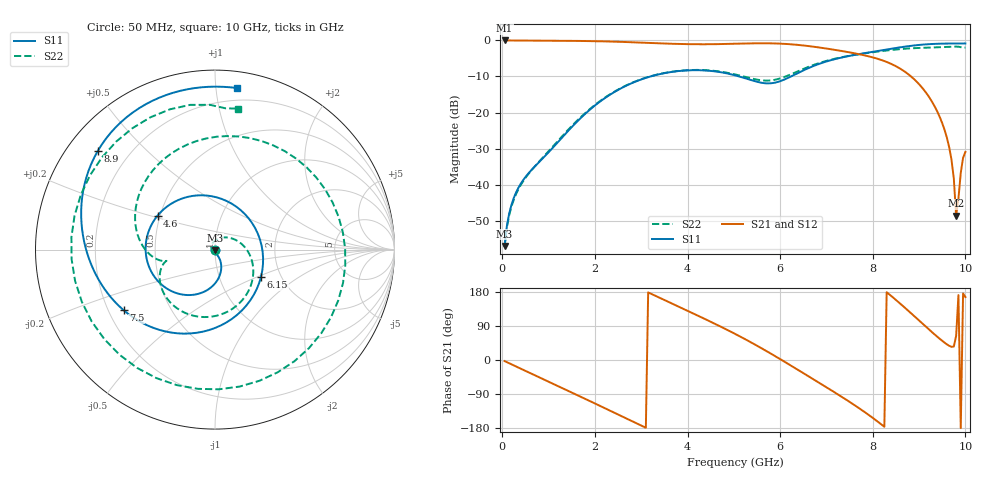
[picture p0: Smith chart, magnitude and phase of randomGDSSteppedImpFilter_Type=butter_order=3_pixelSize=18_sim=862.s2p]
! freq	dB(S11)	phase(S11)	dB(S12)	phase(S12)
!  dB(S21)	phase(S21)	dB(S22)	phase(S22)
!S-par simulation data
#  GHz  S  DB  R 50
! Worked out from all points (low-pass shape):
!   200 points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, 50 MHz to 10 GHz, reference 50 ohm
!   highest |S21| = -0.01 dB at 50 MHz (marker M1); lowest = -48.7 dB at 9.8 GHz (marker M2)
!   |S21| within 3 dB of the highest: start of sweep to 7.365 GHz
!   lowest |S11| = -57.0 dB at 50 MHz (marker M3), VSWR 1.00, Z = 50.1 - j0.13 ohm
!   |S11| at or under -10 dB: start of sweep to 3.199 GHz; 5.115 GHz to 6.234 GHz (1.119 GHz wide, 19.7 % of centre)
!   |S22| runs from -57.1 to -1.7 dB; largest |S21 - S12| = 0
!   S11 on the Smith chart (normalised r, x): 50 MHz: 1.00, -0.00; 4.6 GHz: 0.48, +0.21; 6.15 GHz: 1.58, -0.53; 7.5 GHz: 0.26, -0.28; 8.9 GHz: 0.09, +0.36; 10 GHz: 0.11, +1.14
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0.05  -57.02 -67.6  -0.01 -2.9  -0.01 -2.9  -57.09 -74.9
0.15  -47.97 -81.6  -0.02 -8.6  -0.02 -8.6  -48.44 -101.3
0.4  -39.74 -84.0  -0.03 -22.8  -0.03 -22.8  -40.09 -139.2
1.1  -29.65 -67.3  -0.08 -62.7  -0.08 -62.7  -29.31 119.8
1.75  -20.84 -67.8  -0.15 -100.1  -0.15 -100.1  -20.62 46.8
2.6  -13.04 -99.1  -0.41 -149.8  -0.41 -149.8  -12.96 -21.0
3.4  -9.34 -139.1  -0.81 164.0  -0.81 164.0  -9.29 -73.2
4.6  -8.60 149.3  -1.03 95.0  -1.03 95.0  -8.47 -137.9
5.05  -9.77 113.2  -0.91 67.5  -0.91 67.5  -9.49 -156.3
5.65  -11.84 42.5  -0.78 27.4  -0.78 27.4  -11.12 -166.9
6.15  -10.52 -30.7  -0.99 -8.6  -0.99 -8.6  -9.84 -169.9
6.7  -7.20 -90.0  -1.70 -49.5  -1.70 -49.5  -6.89 165.8
7.5  -4.28 -146.5  -3.31 -110.6  -3.31 -110.6  -4.24 99.6
7.95  -3.26 -170.9  -4.54 -148.3  -4.54 -148.3  -3.36 48.4
8.35  -2.41 168.9  -6.23 173.9  -6.23 173.9  -2.72 -7.1
8.6  -1.89 156.0  -7.88 148.0  -7.88 148.0  -2.40 -46.4
8.9  -1.38 140.0  -10.84 115.3  -10.84 115.3  -2.14 -97.1
9.25  -1.01 121.0  -16.39 76.6  -16.39 76.6  -1.97 -158.6
9.55  -0.87 105.0  -24.81 45.8  -24.81 45.8  -1.83 149.2
9.7  -0.85 97.2  -33.11 34.8  -33.11 34.8  -1.74 124.2
9.8  -0.84 92.1  -48.66 63.7  -48.66 63.7  -1.71 107.9
10  -0.83 82.3  -30.93 166.1  -30.93 166.1  -1.98 80.6
